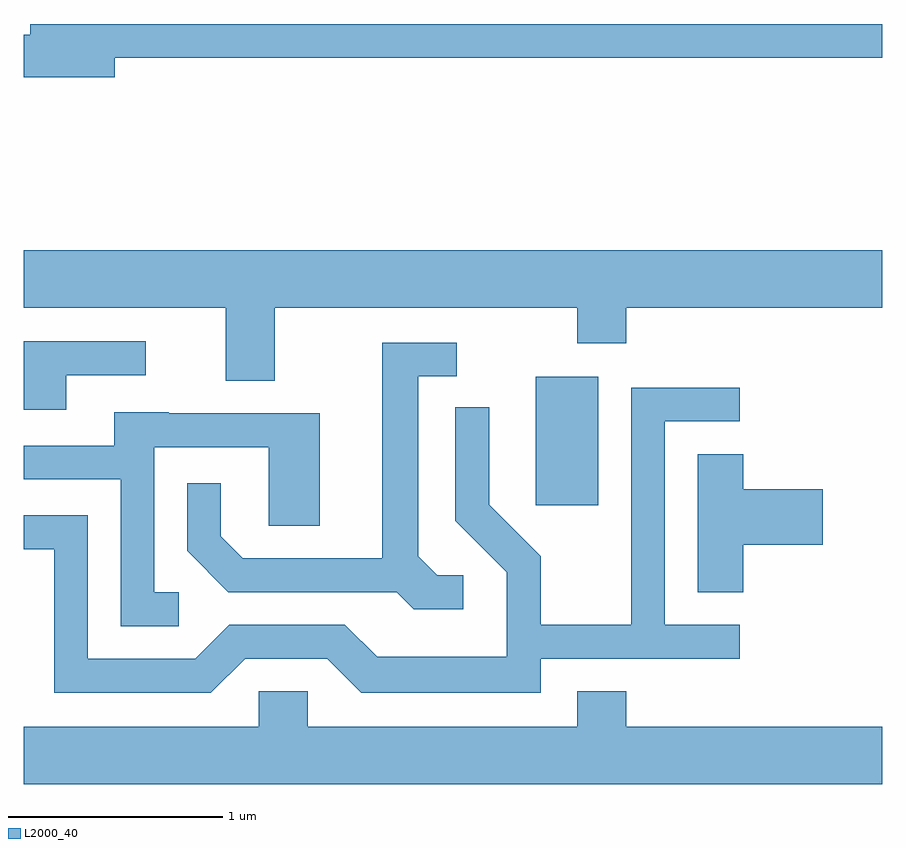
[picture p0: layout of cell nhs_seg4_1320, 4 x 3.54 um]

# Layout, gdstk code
import gdstk
lib = gdstk.Library(unit=1e-6, precision=1e-09)
def R(c, l, rs):  # rectangles x0, y0, x1, y1
    for r in rs: c.add(gdstk.rectangle(r[:2], r[2:], *l))
def P(c, l, *ps):  # polygons
    for p in ps: c.add(gdstk.Polygon(p, *l))
L2000_40 = (2000, 40)

nhs_seg4_1320 = lib.new_cell('nhs_seg4_1320')
R(nhs_seg4_1320, L2000_40, [(225.996,1311.576,226.289,1312.174)])
P(nhs_seg4_1320, L2000_40, [(224.034,1313.661),(227.611,1313.661),(227.611,1313.819),(223.641,1313.819),(223.641,1313.769),(223.611,1313.769),(223.611,1313.571),(224.034,1313.571)],
  [(224.779,1312.496),(226.191,1312.496),(226.191,1312.331),(226.419,1312.331),(226.419,1312.496),(227.611,1312.496),(227.611,1312.764),(223.611,1312.764),(223.611,1312.496),(224.551,1312.496),(224.551,1312.156),(224.779,1312.156)],
  [(223.809,1312.181),(224.178,1312.181),(224.178,1312.339),(223.611,1312.339),(223.611,1312.021),(223.809,1312.021)],
  [(225.658,1311.249),(225.537,1311.249),(225.449,1311.337),(225.449,1312.176),(225.628,1312.176),(225.628,1312.334),(225.281,1312.334),(225.281,1311.329),(224.632,1311.329),(224.529,1311.432),(224.529,1311.678),(224.371,1311.678),(224.371,1311.364),(224.564,1311.171),(225.349,1311.171),(225.429,1311.091),(225.658,1311.091)],
  [(224.642,1310.861),(225.024,1310.861),(225.184,1310.701),(226.019,1310.701),(226.019,1310.861),(226.948,1310.861),(226.948,1311.019),(226.599,1311.019),(226.599,1311.966),(226.948,1311.966),(226.948,1312.124),(226.441,1312.124),(226.441,1311.019),(226.019,1311.019),(226.019,1311.337),(225.779,1311.577),(225.779,1312.033),(225.621,1312.033),(225.621,1311.504),(225.861,1311.264),(225.861,1310.869),(225.257,1310.869),(225.107,1311.019),(224.569,1311.019),(224.409,1310.859),(223.909,1310.859),(223.909,1311.529),(223.611,1311.529),(223.611,1311.371),(223.751,1311.371),(223.751,1310.701),(224.482,1310.701)],
  [(224.333,1311.169),(224.219,1311.169),(224.219,1311.846),(224.751,1311.846),(224.751,1311.481),(224.989,1311.481),(224.989,1312.004),(224.285,1312.004),(224.285,1312.009),(224.031,1312.009),(224.031,1311.854),(223.611,1311.854),(223.611,1311.696),(224.061,1311.696),(224.061,1311.011),(224.333,1311.011)],
  [(226.964,1311.391),(227.334,1311.391),(227.334,1311.649),(226.964,1311.649),(226.964,1311.814),(226.751,1311.814),(226.751,1311.171),(226.964,1311.171)],
  [(227.611,1310.544),(226.419,1310.544),(226.419,1310.709),(226.191,1310.709),(226.191,1310.544),(224.934,1310.544),(224.934,1310.709),(224.706,1310.709),(224.706,1310.544),(223.611,1310.544),(223.611,1310.276),(227.611,1310.276)])

lib.write_gds('nhs_seg4_1320.gds')
